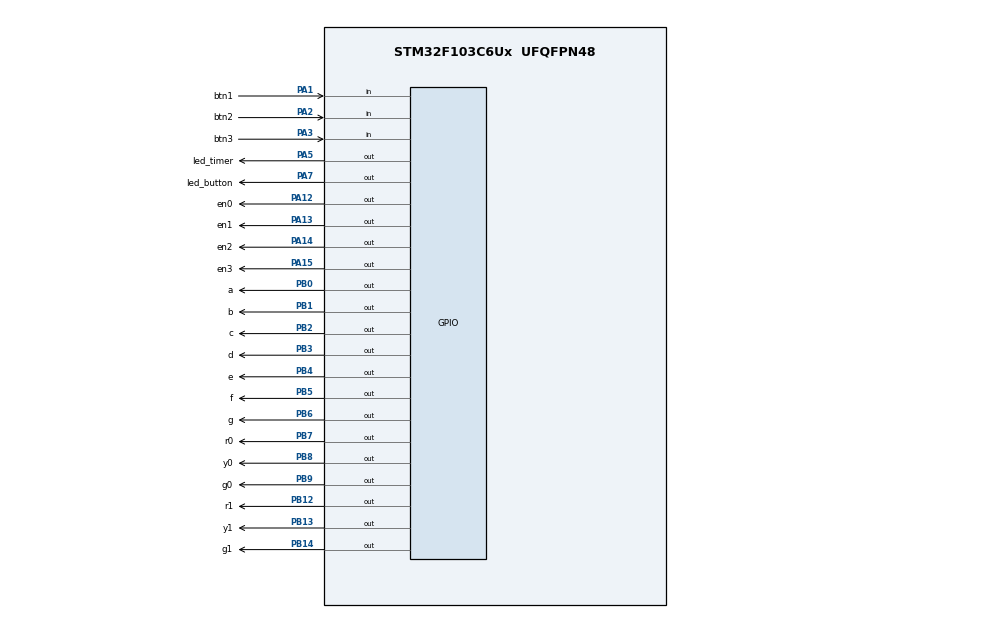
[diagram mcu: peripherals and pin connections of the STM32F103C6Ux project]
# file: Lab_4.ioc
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Mcu.Family=STM32F1
Mcu.Name=STM32F103C6Ux
Mcu.Package=UFQFPN48
NVIC.PriorityGroup=NVIC_PRIORITYGROUP_4
NVIC.TIM2_IRQn=true\:0\:0\:false\:false\:true\:true\:true\:true
PA1.GPIO_Label=btn1
PA1.Signal=GPIO_Input
PA12.GPIO_Label=en0
PA12.Signal=GPIO_Output
PA13.GPIO_Label=en1
PA13.Signal=GPIO_Output
PA14.GPIO_Label=en2
PA14.Signal=GPIO_Output
PA15.GPIO_Label=en3
PA15.Signal=GPIO_Output
PA2.GPIO_Label=btn2
PA2.Signal=GPIO_Input
PA3.GPIO_Label=btn3
PA3.Signal=GPIO_Input
PA5.GPIO_Label=led_timer
PA5.Signal=GPIO_Output
PA7.GPIO_Label=led_button
PA7.Signal=GPIO_Output
PB0.GPIO_Label=a
PB0.Signal=GPIO_Output
PB1.GPIO_Label=b
PB1.Signal=GPIO_Output
PB12.GPIO_Label=r1
PB12.Signal=GPIO_Output
PB13.GPIO_Label=y1
PB13.Signal=GPIO_Output
PB14.GPIO_Label=g1
PB14.Signal=GPIO_Output
PB2.GPIO_Label=c
PB2.Signal=GPIO_Output
PB3.GPIO_Label=d
PB3.Signal=GPIO_Output
PB4.GPIO_Label=e
PB4.Signal=GPIO_Output
PB5.GPIO_Label=f
PB5.Signal=GPIO_Output
PB6.GPIO_Label=g
PB6.Signal=GPIO_Output
PB7.GPIO_Label=r0
PB7.Signal=GPIO_Output
PB8.GPIO_Label=y0
PB8.Signal=GPIO_Output
PB9.GPIO_Label=g0
PB9.Signal=GPIO_Output
ProjectManager.HeapSize=0x200
ProjectManager.StackSize=0x400
ProjectManager.TargetToolchain=STM32CubeIDE
RCC.APB1Freq_Value=8000000
RCC.APB2Freq_Value=8000000
TIM2.Period=9
TIM2.Prescaler=7999
VP_SYS_VS_ND.Mode=No_Debug
VP_TIM2_VS_ClockSourceINT.Mode=Internal
board=custom

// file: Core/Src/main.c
/* USER CODE BEGIN Header */
/**
  ******************************************************************************
  * @file           : main.c
  * @brief          : Main program body
  ******************************************************************************
  * @attention
  *
  * <h2><center>&copy; Copyright (c) 2025 STMicroelectronics.
  * All rights reserved.</center></h2>
  *
  * This software component is licensed by ST under BSD 3-Clause license,
  * the "License"; You may not use this file except in compliance with the
  * License. You may obtain a copy of the License at:
  *                        opensource.org/licenses/BSD-3-Clause
  *
  ******************************************************************************
  */
/* USER CODE END Header */
#include "main.h"
#include "global.h"

TIM_HandleTypeDef htim2;

void SystemClock_Config(void);
static void MX_GPIO_Init(void);
static void MX_TIM2_Init(void);
/* USER CODE BEGIN PFP */
#include "global.h"

void timer_isr(){ //10ms
	timer_run();
	getKeyInput();
}
/* USER CODE END PFP */

int main(void)
{

  /* MCU Configuration--------------------------------------------------------*/

  /* Reset of all peripherals, Initializes the Flash interface and the Systick. */
  HAL_Init();

  /* Configure the system clock */
  SystemClock_Config();

  /* USER CODE BEGIN SysInit */
  SCH_Init();
  /* USER CODE END SysInit */

  /* Initialize all configured peripherals */
  MX_GPIO_Init();
  MX_TIM2_Init();
  /* USER CODE BEGIN 2 */
  HAL_TIM_Base_Start_IT(&htim2);
  /* USER CODE END 2 */

  /* Infinite loop */
  /* USER CODE BEGIN WHILE */
  SCH_Add_Task(fsm_auto, 0, 1);
  SCH_Add_Task(fsm_manual, 0, 1);
  SCH_Add_Task(fsm_setting, 0, 1);

  while (1)
  {
	  SCH_Dispatch_Tasks();
    /* USER CODE END WHILE */
    /* USER CODE BEGIN 3 */
  }
  return 0;
  /* USER CODE END 3 */
}

void SystemClock_Config(void)
{
  RCC_OscInitTypeDef RCC_OscInitStruct = {0};
  RCC_ClkInitTypeDef RCC_ClkInitStruct = {0};

  /** Initializes the RCC Oscillators according to the specified parameters
  * in the RCC_OscInitTypeDef structure.
  */
  RCC_OscInitStruct.OscillatorType = RCC_OSCILLATORTYPE_HSI;
  RCC_OscInitStruct.HSIState = RCC_HSI_ON;
  RCC_OscInitStruct.HSICalibrationValue = RCC_HSICALIBRATION_DEFAULT;
  RCC_OscInitStruct.PLL.PLLState = RCC_PLL_NONE;
  if (HAL_RCC_OscConfig(&RCC_OscInitStruct) != HAL_OK)
  {
    Error_Handler();
  }

  /** Initializes the CPU, AHB and APB buses clocks
  */
  RCC_ClkInitStruct.ClockType = RCC_CLOCKTYPE_HCLK|RCC_CLOCKTYPE_SYSCLK
                              |RCC_CLOCKTYPE_PCLK1|RCC_CLOCKTYPE_PCLK2;
  RCC_ClkInitStruct.SYSCLKSource = RCC_SYSCLKSOURCE_HSI;
  RCC_ClkInitStruct.AHBCLKDivider = RCC_SYSCLK_DIV1;
  RCC_ClkInitStruct.APB1CLKDivider = RCC_HCLK_DIV1;
  RCC_ClkInitStruct.APB2CLKDivider = RCC_HCLK_DIV1;

  if (HAL_RCC_ClockConfig(&RCC_ClkInitStruct, FLASH_LATENCY_0) != HAL_OK)
  {
    Error_Handler();
  }
}

static void MX_TIM2_Init(void)
{

  TIM_ClockConfigTypeDef sClockSourceConfig = {0};
  TIM_MasterConfigTypeDef sMasterConfig = {0};

  htim2.Instance = TIM2;
  htim2.Init.Prescaler = 7999;
  htim2.Init.CounterMode = TIM_COUNTERMODE_UP;
  htim2.Init.Period = 9;
  htim2.Init.ClockDivision = TIM_CLOCKDIVISION_DIV1;
  htim2.Init.AutoReloadPreload = TIM_AUTORELOAD_PRELOAD_DISABLE;
  if (HAL_TIM_Base_Init(&htim2) != HAL_OK)
  {
    Error_Handler();
  }
  sClockSourceConfig.ClockSource = TIM_CLOCKSOURCE_INTERNAL;
  if (HAL_TIM_ConfigClockSource(&htim2, &sClockSourceConfig) != HAL_OK)
  {
    Error_Handler();
  }
  sMasterConfig.MasterOutputTrigger = TIM_TRGO_RESET;
  sMasterConfig.MasterSlaveMode = TIM_MASTERSLAVEMODE_DISABLE;
  if (HAL_TIMEx_MasterConfigSynchronization(&htim2, &sMasterConfig) != HAL_OK)
  {
    Error_Handler();
  }

}

static void MX_GPIO_Init(void)
{
  GPIO_InitTypeDef GPIO_InitStruct = {0};

  /* GPIO Ports Clock Enable */
  __HAL_RCC_GPIOA_CLK_ENABLE();
  __HAL_RCC_GPIOB_CLK_ENABLE();

  /*Configure GPIO pin Output Level */
  HAL_GPIO_WritePin(GPIOA, led_timer_Pin|led_button_Pin|en0_Pin|en1_Pin
                          |en2_Pin|en3_Pin, GPIO_PIN_RESET);

  /*Configure GPIO pin Output Level */
  HAL_GPIO_WritePin(GPIOB, a_Pin|b_Pin|c_Pin|r1_Pin
                          |y1_Pin|g1_Pin|d_Pin|e_Pin
                          |f_Pin|g_Pin|r0_Pin|y0_Pin
                          |g0_Pin, GPIO_PIN_RESET);

  /*Configure GPIO pins : btn1_Pin btn2_Pin btn3_Pin */
  GPIO_InitStruct.Pin = btn1_Pin|btn2_Pin|btn3_Pin;
  GPIO_InitStruct.Mode = GPIO_MODE_INPUT;
  GPIO_InitStruct.Pull = GPIO_NOPULL;
  HAL_GPIO_Init(GPIOA, &GPIO_InitStruct);

  /*Configure GPIO pins : led_timer_Pin led_button_Pin en0_Pin en1_Pin
                           en2_Pin en3_Pin */
  GPIO_InitStruct.Pin = led_timer_Pin|led_button_Pin|en0_Pin|en1_Pin
                          |en2_Pin|en3_Pin;
  GPIO_InitStruct.Mode = GPIO_MODE_OUTPUT_PP;
  GPIO_InitStruct.Pull = GPIO_NOPULL;
  GPIO_InitStruct.Speed = GPIO_SPEED_FREQ_LOW;
  HAL_GPIO_Init(GPIOA, &GPIO_InitStruct);

  /*Configure GPIO pins : a_Pin b_Pin c_Pin r1_Pin
                           y1_Pin g1_Pin d_Pin e_Pin
                           f_Pin g_Pin r0_Pin y0_Pin
                           g0_Pin */
  GPIO_InitStruct.Pin = a_Pin|b_Pin|c_Pin|r1_Pin
                          |y1_Pin|g1_Pin|d_Pin|e_Pin
                          |f_Pin|g_Pin|r0_Pin|y0_Pin
                          |g0_Pin;
  GPIO_InitStruct.Mode = GPIO_MODE_OUTPUT_PP;
  GPIO_InitStruct.Pull = GPIO_NOPULL;
  GPIO_InitStruct.Speed = GPIO_SPEED_FREQ_LOW;
  HAL_GPIO_Init(GPIOB, &GPIO_InitStruct);

}

/* USER CODE BEGIN 4 */
int i = 0;
void HAL_TIM_PeriodElapsedCallback(TIM_HandleTypeDef *htim) {
	getKeyInput();
	timer_run();
    if(i < 10) i++;
    else if (i == 10)
    {
    	uint32_t Index = 0;
    	for (Index = 0; Index < SCH_MAX_TASKS; Index++) SCH_Update(Index);
    	i = 0;
    }
}
/* USER CODE END 4 */

void Error_Handler(void)
{
  __disable_irq();
  while (1)
  {
  }
}
